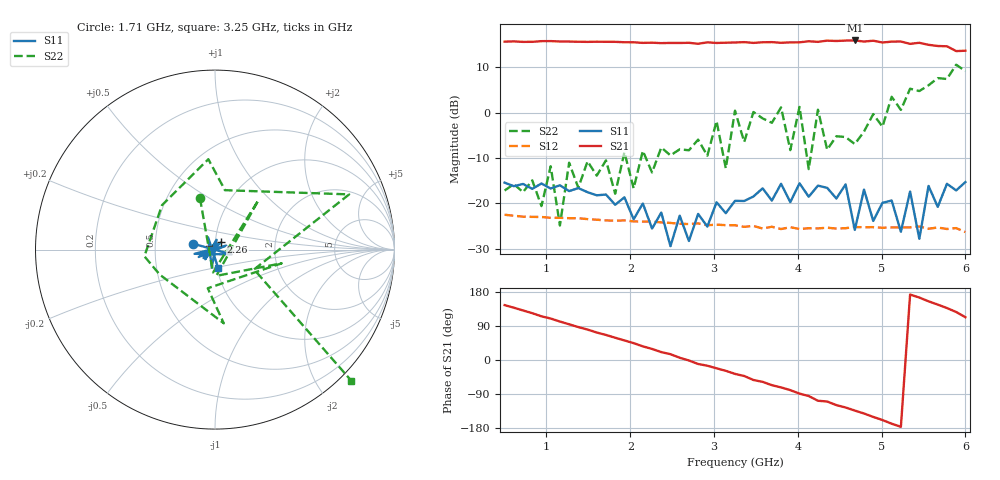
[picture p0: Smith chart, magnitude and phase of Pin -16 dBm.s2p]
! RsaToolbox (C) 2015 Rohde & Schwarz America
! Number of points: 51
! Number of ports: 2
! Balanced ports?: No
# Hz S RI R 50
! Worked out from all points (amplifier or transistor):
!   51 points, 500 MHz to 6 GHz, reference 50 ohm
!   highest |S21| = 15.9 dB at 4.68 GHz (marker M1)
!   |S21| within 3 dB of that: start of sweep to end of sweep
!   unconditionally stable (mu >= 1): start of sweep to 3.007 GHz; 3.046 GHz to 3.217 GHz; 4.294 GHz to 4.796 GHz (the widest 3 of 6)
!   at 1.38 GHz: K = 1.34, MAG = 16.0 dB, |S12| = -23.3 dB
!   at 3.25 GHz: K = 0.08, MSG = 20.2 dB, |S12| = -24.8 dB
!   at 6 GHz: K = -14.85, MSG = 20.0 dB, |S12| = -26.3 dB
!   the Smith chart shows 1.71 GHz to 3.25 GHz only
!   S11 on the Smith chart (normalised r, x): 1.71 GHz: 0.78, +0.05; 2.26 GHz: 1.07, +0.09; 3.25 GHz: 1.01, -0.22
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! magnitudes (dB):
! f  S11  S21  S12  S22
! 500 MHz  -15.4  15.7  -22.5  -17.2
! 1.05 GHz  -16.7  15.8  -23.2  -11.8
! 1.16 GHz  -16.0  15.7  -23.2  -24.9
! 1.27 GHz  -17.3  15.7  -23.3  -11.0
! 1.49 GHz  -17.5  15.6  -23.5  -10.7
! 1.71 GHz  -18.1  15.6  -23.8  -10.5
! 2.26 GHz  -25.6  15.5  -24.0  -13.2
! 2.37 GHz  -22.0  15.4  -24.2  -7.7
! 2.48 GHz  -29.4  15.4  -24.3  -9.4
! 3.03 GHz  -19.8  15.4  -24.7  -1.8
! 3.14 GHz  -22.2  15.5  -24.8  -12.3
! 3.25 GHz  -19.4  15.5  -24.8  0.4
! 3.8 GHz  -15.7  15.4  -25.7  1.2
! 3.91 GHz  -19.7  15.5  -25.3  -8.3
! 4.02 GHz  -15.6  15.5  -25.6  1.3
! 4.13 GHz  -18.5  15.8  -25.5  -12.4
! 4.24 GHz  -16.1  15.6  -25.5  0.7
! 4.68 GHz  -25.8  15.9  -25.2  -6.9
! 5.12 GHz  -19.4  15.7  -25.3  3.5
! 5.45 GHz  -27.8  15.4  -25.1  4.8
! 5.56 GHz  -16.2  15.0  -25.6  6.1
! 6 GHz  -15.3  13.7  -26.3  9.2
